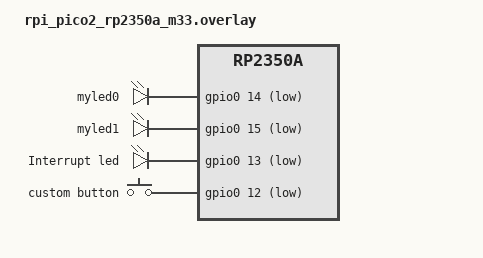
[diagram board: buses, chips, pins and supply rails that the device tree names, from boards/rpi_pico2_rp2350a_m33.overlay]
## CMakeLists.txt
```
cmake_minimum_required(VERSION 3.20.0)
set(BOARD "rpi_pico2/rp2350a/m33")
# Pulls in the Zephyr build system from your central installation
find_package(Zephyr REQUIRED HINTS $ENV{ZEPHYR_BASE})
project(my_custom_app)

# Add your application source files to the 'app' target
target_sources(app PRIVATE src/main.c)
```

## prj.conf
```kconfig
CONFIG_GPIO=y
CONFIG_MULTITHREADING=y
```

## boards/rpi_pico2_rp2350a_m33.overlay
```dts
/ {
    aliases {
        led0 = &myled0;
        led1 = &myled1;
        led2 = &interrupt_led;
        btn0 = &my_button0;
    };
    leds{
        compatible = "gpio-leds";
        myled0: led_0{
            gpios = <&gpio0 14 GPIO_ACTIVE_LOW>;
        };
        myled1: led1{
            gpios = <&gpio0 15 GPIO_ACTIVE_LOW>;
        };
        interrupt_led: led2{
            gpios = <&gpio0 13 GPIO_ACTIVE_LOW>;
            label = "Interrupt led";
        };
    };
    buttons{
        compatible = "gpio-keys";
        my_button0: btn0{
            gpios = <&gpio0 12 (GPIO_PULL_UP|GPIO_ACTIVE_LOW)>;
            label = "custom button";
        };
    };
};
```

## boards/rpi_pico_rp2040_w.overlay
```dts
/ {
    aliases {
        led0 = &myled0;
        led1 = &myled1;
    };
    leds{
        compatible = "gpio-leds";
        myled0: led_0{
            gpios = <&gpio0 12 GPIO_ACTIVE_LOW>;
        };
        myled1: led1{
            gpios = <&gpio0 13 GPIO_ACTIVE_LOW>;
        };
    };
};
```

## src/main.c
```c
#include <zephyr/kernel.h>
#include <zephyr/drivers/gpio.h>
#define DURATION 1000

#define LED_NODE0 DT_ALIAS(led0)
#define LED_NODE1 DT_ALIAS(led1)
#define INT_LED DT_ALIAS(led2)
#define BTN_NODE DT_ALIAS(btn0)
#define STACK_SIZE 500
K_THREAD_STACK_DEFINE(my_stack,STACK_SIZE)
K_THREAD_STACK_DEFINE(my_second_stack, STACK_SIZE);
struct k_thread my_thread;
struct k_thread my_thread2;
static const struct gpio_dt_spec led = GPIO_DT_SPEC_GET(LED_NODE0, gpios);
static const struct gpio_dt_spec led1 = GPIO_DT_SPEC_GET(LED_NODE1, gpios);
static const struct gpio_dt_spec btn = GPIO_DT_SPEC_GET(BTN_NODE, gpios);
static const struct gpio_dt_spec int_led = GPIO_DT_SPEC_GET(INT_LED, gpios);
static struct gpio_callback callback_data;
void btn_handler(const struct device *port, struct gpio_callback *cb,gpio_port_pins_t pins){
    int ret;
    ret = gpio_pin_toggle_dt(&int_led);
    if(ret<0){
        printk("oops!");
        return;
    }
 //do sth later!!!
}
void init(){
      int ret;
    if(!(gpio_is_ready_dt(&led) && gpio_is_ready_dt(&led1) && gpio_is_ready_dt(&btn)) && ! gpio_is_ready_dt(&int_led)){
        return;
    }
    ret = gpio_pin_configure_dt(&led, GPIO_OUTPUT_ACTIVE);
    if(ret < 0){
        return;
    }
    ret = gpio_pin_configure_dt(&int_led, GPIO_OUTPUT_ACTIVE);
    if(ret < 0){
        return;
    }
    ret = gpio_pin_configure_dt(&led1, GPIO_OUTPUT_ACTIVE);
    if(ret < 0){
        return;
    }
    ret = gpio_pin_configure_dt(&btn, GPIO_INPUT);
    if(ret < 0){
        return;
    }
    ret =gpio_pin_interrupt_configure_dt(&btn, GPIO_INT_EDGE_TO_ACTIVE);
    if(ret < 0){
        return;
    }
    gpio_init_callback(&callback_data, btn_handler, BIT(btn.pin));
    gpio_add_callback(btn.port, &callback_data);
}
void blink_func(void *p1,void *p2,void *p3){
    while(1){
        gpio_pin_toggle_dt(&led);
        k_msleep(500);
    } 
}
void blink_func_two(void *p1,void *p2,void *p3){
    while(1){
        gpio_pin_toggle_dt(&led1);
        k_msleep(450);
    }
}
int main(void) {
    init();
    k_tid_t blink_thread= k_thread_create(&my_thread,my_stack,
        K_THREAD_STACK_SIZEOF(my_stack),
    blink_func,NULL,NULL,NULL, 5,0,K_NO_WAIT);
    k_tid_t blink_thread2 = k_thread_create(&my_thread2,my_second_stack,K_THREAD_STACK_SIZEOF(my_second_stack), 
    blink_func_two, NULL, NULL, NULL, 5, 0, K_NO_WAIT);
   
    k_thread_join(blink_thread, K_FOREVER);
    k_thread_join(blink_thread2, K_FOREVER);
    k_thread_stack_free(my_stack);
    k_thread_stack_free(my_second_stack);
    return 0;
}
```
